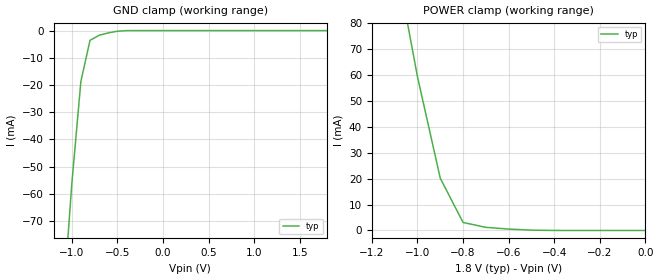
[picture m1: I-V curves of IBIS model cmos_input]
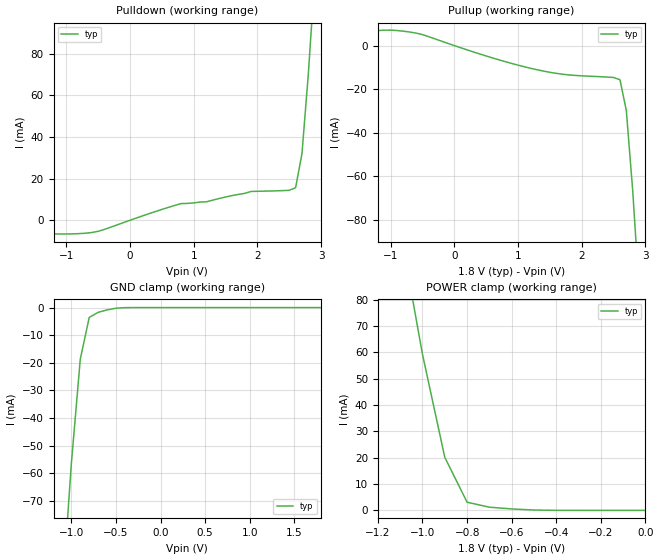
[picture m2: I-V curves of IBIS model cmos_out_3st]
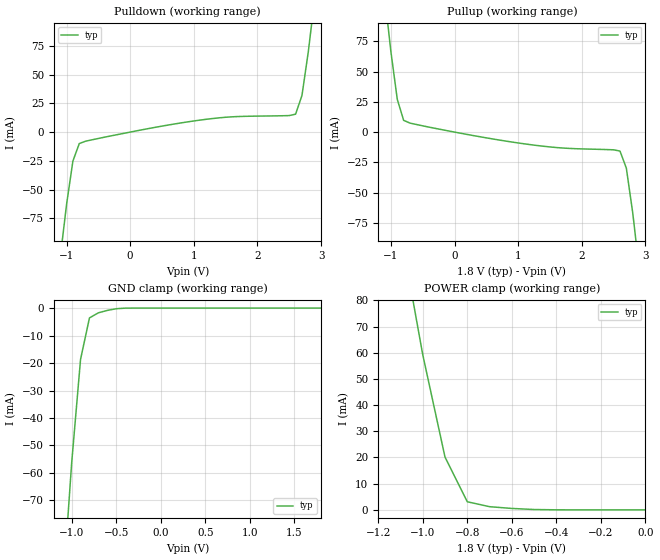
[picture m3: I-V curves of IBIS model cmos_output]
|   This file is an IBIS representation of the   |
|   analog devices   |
|   AD9362   |
|=================== Header Section -------------------------------------------|
[IBIS Ver]  3.2
[File Name] ad9361_1p8_lvds_r2.ibs
[File Rev]  2
[Source]   This file originated at Analog Devices.
[Date]   03-19-2012
[Notes]
|   Quality Check Passes IBIS Checker with 7 warnings. Quality
|   Check Passes IBIS Checker with 7 warnings. The LVDS
|   pullup and pulldown curves do represent circuit operation,
|   even though the IBIS modelling inidicates warnings. For
|   proper simulation of LVDS drivers, external placement 50ohm
|   terminations to 1.2V is necessary.
[Disclaimer]
|   This IBIS model is provided "AS IS, Where IS, AND WITH NO
|   WARRANTY OF ANY KINND EITHER EXPRESSED OR IMPLIED, INCLUDING
|   BUT NOT LIMITED TO ANY IMPLIED WARRANTIES OF MECHANTABILITY
|   AND FITNESS FOR A PARTICULAR PURPOSE."
|   In no event will Analog Devices be liable for special, colloateral,
|   incidental, or consequential damages in connection with or
|   arising out of the use of this IBIS model. Analog Devices reserves
|   the right to make changes to the products and IBIS models without
|   prior notice.
[Copyright]   copyright (c)2011 Analog Devices, All rights reserved.
[Component] AD9362
[Manufacturer] Analog Devices
[Package]
|Variable typ   min   max
R_pkg  0.350ohms   NA   NA
L_pkg  2.0nH   NA   NA
C_pkg  .50pF   NA   NA
[Pin]   signal_name   model_name   R_pin   L_pin   C_pin
A1   RX2A_N   NC   NA   NA   NA
A2   RX2A_P   NC   NA   NA   NA
A3   RX2_SA_LNA_OUT   NC   NA   NA   NA
A4   RX2_SA_LNA_IN   NC   NA   NA   NA
A5   TX_MON2   NC   NA   NA   NA
A6   VSSA   GND   NA   NA   NA
A7   TX2A_N   NC   NA   NA   NA
A8   TX2A_P   NC   NA   NA   NA
A9   TX2B_N   NC   NA   NA   NA
A10   TX2B_P   NC   NA   NA   NA
A11   VDDA1P1_TX_VCO   NC   NA   NA   NA
A12   TX_EXT_LO_IN   NC   NA   NA   NA
B1   VSSA   GND   NA   NA   NA
B2   VSSA   GND   NA   NA   NA
B3   AUXDAC1   NC   NA   NA   NA
B4   GPO_3   GPO   NA   NA   NA
B5   GPO_2   GPO   NA   NA   NA
B6   GPO_1   GPO   NA   NA   NA
B7   GPO_0   GPO   NA   NA   NA
B8   VDDA_GPO   POWER   NA   NA   NA
B9   VDDA1P3_TX_LO   POWER   NA   NA   NA
B10   VDDA1P3_TX_VCO_LDO   POWER   NA   NA   NA
B11   TX_VCO_LDO_OUT   NC   NA   NA   NA
B12   VSSA   GND   NA   NA   NA
C1   RX2C_P   NC   NA   NA   NA
C2   VSSA   GND   NA   NA   NA
C3   AUXDAC2   NC   NA   NA   NA
C4   TEST/ENABLE   cmos_input   NA   NA   NA
C5   CTRL_IN0   cmos_input   NA   NA   NA
C6   CTRL_IN1   cmos_input   NA   NA   NA
C7   VSSA   GND   NA   NA   NA
C8   VSSA   GND   NA   NA   NA
C9   VSSA   GND   NA   NA   NA
C10   VSSA   GND   NA   NA   NA
C11   VSSA   GND   NA   NA   NA
C12   VSSA   GND   NA   NA   NA
D1   RX2C_N   NC   NA   NA   NA
D2   VDDA1P3_RX_RF   POWER   NA   NA   NA
D3   VDDA1P3_RX_TX   POWER   NA   NA   NA
D4   CTRL_OUT0   cmos_output   NA   NA   NA
D5   CTRL_IN3   cmos_input   NA   NA   NA
D6   CTRL_IN2   cmos_input   NA   NA   NA
D7   P0_D9-TX_D4_P   p0_LVDS_IN   NA   NA   NA
D8   P0_D7-TX_D3_P   p0_LVDS_IN   NA   NA   NA
D9   P0_D5-TX_D2_P   p0_LVDS_IN   NA   NA   NA
D10   P0_D3-TX_D1_P   p0_LVDS_IN   NA   NA   NA
D11   P0_D1-TX_D0_P   p0_LVDS_IN   NA   NA   NA
D12   VSSD   GND   NA   NA   NA
E1   RX2B_P   NC   NA   NA   NA
E2   VDDA1P3_RX_LO   POWER   NA   NA   NA
E3   VDDA1P3_TX_LO_BUFFER  POWER   NA   NA   NA
E4   CTRL_OUT1   cmos_output   NA   NA   NA
E5   CTRL_OUT2   cmos_output   NA   NA   NA
E6   CTRL_OUT3   cmos_output   NA   NA   NA
E7   P0_D11-TX_D5_P   p0_LVDS_IN   NA   NA   NA
E8   P0_D8-TX_D4_N   p0_LVDS_IN   NA   NA   NA
E9   P0_D6-TX_D3_N   p0_LVDS_IN   NA   NA   NA
E10   P0_D4-TX_D2_N   p0_LVDS_IN   NA   NA   NA
E11   P0_D2-TX_D1_N   p0_LVDS_IN   NA   NA   NA
E12   P0_D0-TX_D0_N   p0_LVDS_IN   NA   NA   NA
F1   RX2B_N   NC   NA   NA   NA
F2   VDDA1P3_RX_VCO_LDO   POWER   NA   NA   NA
F3   VSSA   GND   NA   NA   NA
F4   CTRL_OUT6   cmos_output   NA   NA   NA
F5   CTRL_OUT5   cmos_output   NA   NA   NA
F6   CTRL_OUT4   cmos_output   NA   NA   NA
F7   VSSD   GND   NA   NA   NA
F8   P0_D10-TX_D5_N   p0_LVDS_IN   NA   NA   NA
F9   VSSD   GND   NA   NA   NA
F10   FB_CLK_P   p0_LVDS_IN   NA   NA   NA
F11   VSSD   GND   NA   NA   NA
F12   VDDD1P3_DIG   POWER   NA   NA   NA
G1   RX_EXT_LO_IN   NC   NA   NA   NA
G2   RX_VCO_LDO_OUT   NC   NA   NA   NA
G3   VDDA1P1_RX_VCO   NC   NA   NA   NA
G4   CTRL_OUT7   cmos_output   NA   NA   NA
G5   EN_AGC   cmos_input   NA   NA   NA
G6   ENABLE   cmos_input   NA   NA   NA
G7   RX_FRAME_N   p1_LVDS_OUT   NA   NA   NA
G8   RX_FRAME_P   p1_LVDS_OUT   NA   NA   NA
G9   TX_FRAME_P   p0_LVDS_IN   NA   NA   NA
G10   FB_CLK_N   p0_LVDS_IN   NA   NA   NA
G11   DATA_CLK_P   p1_LVDS_OUT   NA   NA   NA
G12   VSSD   GND   NA   NA   NA
H1   RX1B_P   NC   NA   NA   NA
H2   VSSA   GND   NA   NA   NA
H3   VSSA   GND   NA   NA   NA
H4   TXNRX   cmos_input   NA   NA   NA
H5   SYNC_IN   cmos_input   NA   NA   NA
H6   REF_CLK_IN   NC   NA   NA   NA
H7   VSSD   GND   NA   NA   NA
H8   P1_D11-RX_D5_P   p1_LVDS_OUT   NA   NA   NA
H9   TX_FRAME_N   p0_LVDS_IN   NA   NA   NA
H10   VSSD   GND   NA   NA   NA
H11   DATA_CLK_N   p1_LVDS_OUT   NA   NA   NA
H12   VDD_INTERFACE   POWER   NA   NA   NA
J1   RX1B_N   NC   NA   NA   NA
J2   VSSA   GND   NA   NA   NA
J3   VDDA1P3_RX_SYNTH   POWER   NA   NA   NA
J4   SPI_DI   cmos_bidir   NA   NA   NA
J5   SPI_CLK   cmos_input   NA   NA   NA
J6   CLK_OUT   cmos_output   NA   NA   NA
J7   P1_D10-RX_D5_N   p1_LVDS_OUT   NA   NA   NA
J8   P1_D9-RX_D4_P   p1_LVDS_OUT   NA   NA   NA
J9   P1_D7-RX_D3_P   p1_LVDS_OUT   NA   NA   NA
J10   P1_D5-RX_D2_P   p1_LVDS_OUT   NA   NA   NA
J11   P1_D3-RX_D1_P   p1_LVDS_OUT   NA   NA   NA
J12   P1_D1-RX_D0_P   p1_LVDS_OUT   NA   NA   NA
K1   RX1C_P   NC   NA   NA   NA
K2   VSSA   GND   NA   NA   NA
K3   VDDA1P3_TX_SYNTH   POWER   NA   NA   NA
K4   VDDA1P3_BB   POWER   NA   NA   NA
K5   RESETB   cmos_input   NA   NA   NA
K6   SPI_ENB   cmos_input   NA   NA   NA
K7   P1_D8-RX_D4_N   p1_LVDS_OUT   NA   NA   NA
K8   P1_D6-RX_D3_N   p1_LVDS_OUT   NA   NA   NA
K9   P1_D4-RX_D2_N   p1_LVDS_OUT   NA   NA   NA
K10   P1_D2-RX_D1_N   p1_LVDS_OUT   NA   NA   NA
K11   P1_D0-RX_D0_N   p1_LVDS_OUT   NA   NA   NA
K12   VSSD   GND   NA   NA   NA
L1   RX1C_N   NC   NA   NA   NA
L2   VSSA   GND   NA   NA   NA
L3   VSSA   GND   NA   NA   NA
L4   RBIAS   NC   NA   NA   NA
L5   AUXADC   NC   NA   NA   NA
L6   SPI_DO   cmos_out_3st   NA   NA   NA
L7   VSSA   GND   NA   NA   NA
L8   VSSA   GND   NA   NA   NA
L9   VSSA   GND   NA   NA   NA
L10   VSSA   GND   NA   NA   NA
L11   VSSA   GND   NA   NA   NA
L12   VSSA   GND   NA   NA   NA
M1   RX1A_P   NC   NA   NA   NA
M2   RX1A_N   NC   NA   NA   NA
M3   RX1_SA_LNA_OUT   NC   NA   NA   NA
M4   RX1_SA_LNA_IN   NC   NA   NA   NA
M5   TX_MON1   NC   NA   NA   NA
M6   VSSA   GND   NA   NA   NA
M7   TX1A_P   NC   NA   NA   NA
M8   TX1A_N   NC   NA   NA   NA
M9   TX1B_P   NC   NA   NA   NA
M10   TX1B_N   NC   NA   NA   NA
M11   XTALP   NC   NA   NA   NA
M12   XTALN   NC   NA   NA   NA
[Diff_pin]   inv_pin   vdiff   tdelay_typ   tdelay_min   tdelay_max
| LVDS OUTPUTS (p1):  The Diff_pin is "P" pin and the inv_pin is the "N" pin
| RX_FRAME_P   RX_FRAME_N
G8   G7   NA   0   0   0
| DATA_CLK_P   DATA_CLK_N
G11   H11   NA   0   0   0
| P1_D1-RX_D0_P   P1_D0-RX_D0_N
J12   K11   NA   0   0   0
| P1_D3-RX_D1_P   P1_D2-RX_D1_N
J11   K10   NA   0   0   0
| P1_D5-RX_D2_P   P1_D4-RX_D2_N
J10   K9   NA   0   0   0
| P1_D7-RX_D3_P   P1_D6-RX_D3_N
J9   K8   NA   0   0   0
| P1_D9-RX_D4_P   P1_D8-RX_D4_N
J8   K7   NA   0   0   0
| P1_D11-RX_D5_P  P1_D10-RX_D5_N
H8   J7   NA   0   0   0
| Models and submodels in the file (7): cmos_input (Input), cmos_out_3st (3-state), cmos_output (Output), cmos_bidir (I/O), GPO (3-state), p0_LVDS_IN (Input), p1_LVDS_OUT (I/O)
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[Model] cmos_input
Model_type Input
Vinl = 0.63
Vinh = 1.17
|   typ   min   max
C_comp  4pF   NA   NA
|   typ   min   max
[Voltage Range]   1.800V  NA   NA
[GND Clamp Reference]   0.000V  NA   NA
[POWER Clamp Reference] 1.800V  NA   NA
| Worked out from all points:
|   GND clamp passes 1 mA (typ) near -0.62 V on its own axis
|   POWER clamp passes 1 mA (typ) near -0.67 V on its own axis
[GND Clamp]
| Voltage  I(typ)   I(min)  I(max)
-1.8V     -472.8mA   NA         NA
-1.1V     -103.1mA   NA         NA
-1V       -56.47mA   NA         NA
-900mV    -18.66mA   NA         NA
-800mV    -3.584mA   NA         NA
-700mV    -1.725mA   NA         NA
-500mV    -242.9uA   NA         NA
-400mV    -23.56uA   NA         NA
1.8V      60pA       NA         NA
[POWER Clamp]
-1.8V     477.8mA    NA         NA
-1.1V     106.5mA    NA         NA
-1V       59.26mA    NA         NA
-900mV    20.15mA    NA         NA
-800mV    3.092mA    NA         NA
-700mV    1.208mA    NA         NA
-500mV    127uA      NA         NA
0V        60pA       NA         NA
[model] cmos_out_3st
Model_type 3-state
Cref  =   3.000pF
Rref  =   10kOhm
Vref  =   1.8V
Vmeas =   1.5V
C_comp   4pF   NA   NA
[Voltage Range]   1.800V  NA   NA
[GND Clamp Reference]   0.000V  NA   NA
[POWER Clamp Reference] 1.800V  NA   NA
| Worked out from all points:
|   slope of the pulldown table from 0 to 0.27 V, typ, clamps not added: 93.9 ohm
|   slope of the pullup table from 0 to 0.27 V, typ, clamps not added: 102 ohm
|   GND clamp passes 1 mA (typ) near -0.62 V on its own axis
|   POWER clamp passes 1 mA (typ) near -0.67 V on its own axis
[GND Clamp]
| Voltage  I(typ)   I(min)  I(max)
-1.8V     -472.8mA   NA         NA
-1.1V     -103.1mA   NA         NA
-1V       -56.47mA   NA         NA
-900mV    -18.66mA   NA         NA
-800mV    -3.584mA   NA         NA
-700mV    -1.725mA   NA         NA
-500mV    -242.9uA   NA         NA
-400mV    -23.56uA   NA         NA
1.8V      60pA       NA         NA
[POWER Clamp]
| Voltage  I(typ)   I(min)  I(max)
-1.8V     477.8mA    NA         NA
-1.1V     106.5mA    NA         NA
-1V       59.26mA    NA         NA
-900mV    20.15mA    NA         NA
-800mV    3.092mA    NA         NA
-700mV    1.208mA    NA         NA
-500mV    127uA      NA         NA
0V        60pA       NA         NA
[Pulldown]
| Voltage  I(typ)   I(min)  I(max)
-1.8V     -4.859mA   NA         NA
-1.2V     -6.522mA   NA         NA
-600mV    -5.868mA   NA         NA
800mV     7.998mA    NA         NA
1.2V      8.861mA    NA         NA
1.9V      13.83mA    NA         NA
2.5V      14.37mA    NA         NA
2.6V      15.61mA    NA         NA
2.7V      31.92mA    NA         NA
2.8V      70.16mA    NA         NA
2.9V      116.3mA    NA         NA
3.6V      481.6mA    NA         NA
[Pullup]
| Voltage  I(typ)   I(min)  I(max)
-1.8V     4.695mA    NA         NA
-1.1V     7.097mA    NA         NA
-700mV    6.238mA    NA         NA
700mV     -6.546mA   NA         NA
1.3V      -11.12mA   NA         NA
1.8V      -13.49mA   NA         NA
2.5V      -14.67mA   NA         NA
2.6V      -15.69mA   NA         NA
2.7V      -29.85mA   NA         NA
2.8V      -66.67mA   NA         NA
2.9V      -112.3mA   NA         NA
3.6V      -477.6mA   NA         NA
[Ramp]
|   typ   min   max
dV/dt_r   1.18V/.14553ns   NA   NA
dV/dt_f   1.18V/.14638ns   NA   NA
R_load=10k
|----------------End of cmos_out_3st Model-----------------*******-----------
[MODEL] cmos_output
Model_type   Output
Polarity   Non-Inverting
Cref  =   3.000pF
Rref  =   10kOhm
Vref  =   1.8V
Vmeas =   1.5V
|   typ   min   max
C_comp   3.000pF   NA   NA
[Voltage Range]   1.80V   NA   NA
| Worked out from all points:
|   slope of the pulldown table from 0 to 0.27 V, typ, clamps not added: 93.9 ohm
|   slope of the pullup table from 0 to 0.27 V, typ, clamps not added: 102 ohm
|   GND clamp passes 1 mA (typ) near -0.62 V on its own axis
|   POWER clamp passes 1 mA (typ) near -0.67 V on its own axis
[GND Clamp]
| Voltage  I(typ)   I(min)  I(max)
-1.8V     -472.8mA   NA         NA
-1.1V     -103.1mA   NA         NA
-1V       -56.47mA   NA         NA
-900mV    -18.66mA   NA         NA
-800mV    -3.584mA   NA         NA
-700mV    -1.725mA   NA         NA
-500mV    -242.9uA   NA         NA
-400mV    -23.56uA   NA         NA
1.8V      60pA       NA         NA
[POWER Clamp]
| Voltage  I(typ)   I(min)  I(max)
-1.8V     477.8mA    NA         NA
-1.1V     106.5mA    NA         NA
-1V       59.26mA    NA         NA
-900mV    20.15mA    NA         NA
-800mV    3.092mA    NA         NA
-700mV    1.208mA    NA         NA
-500mV    127uA      NA         NA
0V        60pA       NA         NA
[Pulldown]
| Voltage  I(typ)   I(min)  I(max)
-1.8V     -477.7mA   NA         NA
-1.1V     -109.7mA   NA         NA
-1V       -63.05mA   NA         NA
-900mV    -25.18mA   NA         NA
-800mV    -9.984mA   NA         NA
100mV     1.083mA    NA         NA
1.1V      10.45mA    NA         NA
2.6V      15.61mA    NA         NA
2.7V      31.92mA    NA         NA
2.8V      70.16mA    NA         NA
2.9V      116.3mA    NA         NA
3.6V      481.6mA    NA         NA
[Pullup]
| Voltage  I(typ)   I(min)  I(max)
-1.8V     482.5mA    NA         NA
-1.1V     113.6mA    NA         NA
-1V       66.37mA    NA         NA
-900mV    27.07mA    NA         NA
-800mV    9.713mA    NA         NA
-200mV    2.02mA     NA         NA
1.1V      -9.742mA   NA         NA
2.6V      -15.69mA   NA         NA
2.7V      -29.85mA   NA         NA
2.8V      -66.67mA   NA         NA
2.9V      -112.3mA   NA         NA
3.6V      -477.6mA   NA         NA
[Ramp]
|   typ   min   max
dV/dt_r   1.18V/.1453ns   NA   NA
dV/dt_f   1.18V/.1463ns   NA   NA
R_load=10k
|----------------------------end cmos_output model---------------
